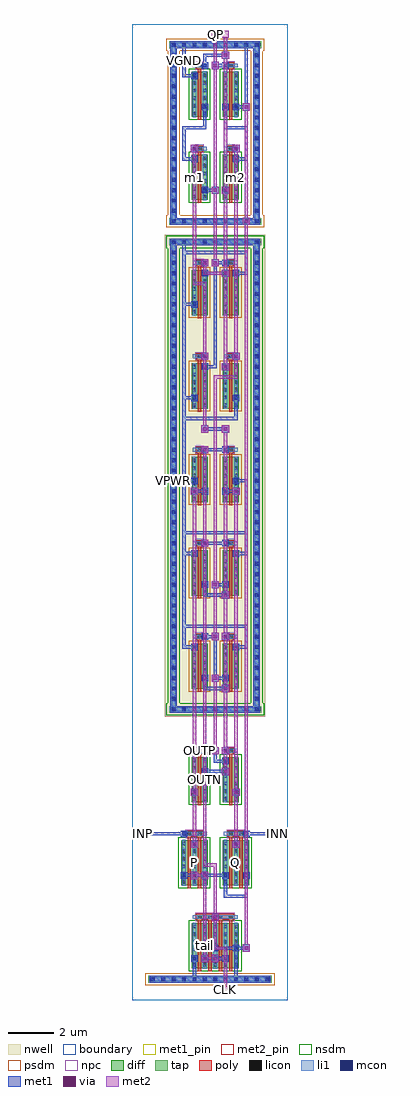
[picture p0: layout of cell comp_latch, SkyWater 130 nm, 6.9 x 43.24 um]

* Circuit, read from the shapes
.subckt comp_latch CLK INN INP OUTN OUTP P Q QN QP VGND VPWR m1 m2 tail
XM1 P INP tail VGND sky130_fd_pr__nfet_01v8 w=2 l=0.15 m=2
XM2 tail CLK VGND VGND sky130_fd_pr__nfet_01v8 w=2 l=0.15 m=4
XM3 OUTN OUTP P VGND sky130_fd_pr__nfet_01v8 w=2 l=0.15
XM4 QP OUTN m1 VGND sky130_fd_pr__nfet_01v8 w=2 l=0.15
XM5 m1 QN VGND VGND sky130_fd_pr__nfet_01v8 w=2 l=0.15
XM6 Q INN tail VGND sky130_fd_pr__nfet_01v8 w=2 l=0.15 m=2
XM7 Q OUTN OUTP VGND sky130_fd_pr__nfet_01v8 w=2 l=0.15
XM8 m2 OUTP QN VGND sky130_fd_pr__nfet_01v8 w=2 l=0.15
XM9 VGND QP m2 VGND sky130_fd_pr__nfet_01v8 w=2 l=0.15
XM10 OUTN OUTP VPWR VPWR sky130_fd_pr__pfet_01v8 w=2 l=0.15
XM11 OUTN CLK VPWR VPWR sky130_fd_pr__pfet_01v8 w=2 l=0.15
XM12 P CLK VPWR VPWR sky130_fd_pr__pfet_01v8 w=2 l=0.15
XM13 QP OUTN VPWR VPWR sky130_fd_pr__pfet_01v8 w=2 l=0.15
XM14 QP QN VPWR VPWR sky130_fd_pr__pfet_01v8 w=2 l=0.15
XM15 VPWR OUTN OUTP VPWR sky130_fd_pr__pfet_01v8 w=2 l=0.15
XM16 VPWR CLK OUTP VPWR sky130_fd_pr__pfet_01v8 w=2 l=0.15
XM17 VPWR CLK Q VPWR sky130_fd_pr__pfet_01v8 w=2 l=0.15
XM18 VPWR OUTP QN VPWR sky130_fd_pr__pfet_01v8 w=2 l=0.15
XM19 VPWR QP QN VPWR sky130_fd_pr__pfet_01v8 w=2 l=0.15
.ends

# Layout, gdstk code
import gdstk
lib = gdstk.Library(unit=1e-6, precision=1e-09)
def R(c, l, rs):  # rectangles x0, y0, x1, y1
    for r in rs: c.add(gdstk.rectangle(r[:2], r[2:], *l))
def A(c, l, x, y, w, h, nx, ny, dx, dy):  # array of equal rectangles
    R(c, l, [(x+i*dx, y+j*dy, x+i*dx+w, y+j*dy+h) for i in range(nx) for j in range(ny)])
nwell = (64, 20)
diff = (65, 20)
tap = (65, 44)
poly = (66, 20)
licon = (66, 44)
li1 = (67, 20)
mcon = (67, 44)
met1_pin = (68, 16)
met1 = (68, 20)
via = (68, 44)
met2_pin = (69, 16)
met2 = (69, 20)
nsdm = (93, 44)
psdm = (94, 20)
npc = (95, 20)
boundary = (235, 4)

comp_latch = lib.new_cell('comp_latch')
R(comp_latch, nwell, [(1.455,12.555,5.905,33.905)])
A(comp_latch, diff, 2.635, 13.78, 0.71, 2, 1, 5, 0, 4.14)
A(comp_latch, diff, 4.015, 13.78, 0.71, 2, 1, 5, 0, 4.14)
R(comp_latch, diff, [(2.635,1.405,4.725,3.405), (2.175,5.085,3.345,7.085), (4.015,5.085,5.185,7.085), (2.635,8.765,3.345,10.765), (4.015,8.765,4.725,10.765), (2.635,35.445,3.345,37.445), (4.015,35.445,4.725,37.445), (2.635,39.125,3.345,41.125), (4.015,39.125,4.725,41.125)])
R(comp_latch, tap, [(0.715,0.775,6.185,1.065), (1.635,12.735,5.725,13.025), (1.695,12.735,1.985,33.725), (5.375,12.735,5.665,33.725), (1.635,33.435,5.725,33.725), (1.635,34.355,5.725,34.645), (1.695,34.355,1.985,42.465), (5.375,34.355,5.665,42.465), (1.635,42.175,5.725,42.465)])
A(comp_latch, poly, 2.915, 1.275, 0.15, 2.405, 4, 1, 0.46, 0)
A(comp_latch, poly, 2.915, 13.65, 0.15, 2.45, 1, 5, 0, 4.14)
A(comp_latch, poly, 4.295, 13.65, 0.15, 2.45, 1, 5, 0, 4.14)
A(comp_latch, poly, 2.825, 15.965, 0.33, 0.27, 1, 5, 0, 4.14)
A(comp_latch, poly, 4.205, 15.965, 0.33, 0.27, 1, 5, 0, 4.14)
R(comp_latch, poly, [(2.825,3.545,4.535,3.815), (2.455,4.955,2.605,7.36), (2.915,4.955,3.065,7.36), (4.295,4.955,4.445,7.36), (4.755,4.955,4.905,7.36), (2.365,7.225,3.155,7.495), (4.205,7.225,4.995,7.495), (2.915,8.635,3.065,11.04), (4.295,8.635,4.445,11.04), (2.825,10.905,3.155,11.175), (4.205,10.905,4.535,11.175), (2.915,35.315,3.065,37.72), (4.295,35.315,4.445,37.72), (2.825,37.585,3.155,37.855), (4.205,37.585,4.535,37.855), (2.915,38.995,3.065,41.4), (4.295,38.995,4.445,41.4), (2.825,41.265,3.155,41.535), (4.205,41.265,4.535,41.535)])
A(comp_latch, licon, 0.835, 0.835, 0.17, 0.17, 12, 1, 0.46, 0)
A(comp_latch, licon, 2.675, 1.47, 0.17, 0.17, 5, 6, 0.46, 0.34)
A(comp_latch, licon, 2.905, 3.595, 0.17, 0.17, 4, 1, 0.46, 0)
A(comp_latch, licon, 2.215, 5.15, 0.17, 0.17, 3, 6, 0.46, 0.34)
A(comp_latch, licon, 4.055, 5.15, 0.17, 0.17, 3, 6, 0.46, 0.34)
A(comp_latch, licon, 2.675, 8.83, 0.17, 0.17, 1, 6, 0, 0.34)
A(comp_latch, licon, 3.135, 8.83, 0.17, 0.17, 1, 6, 0, 0.34)
A(comp_latch, licon, 4.055, 8.83, 0.17, 0.17, 1, 6, 0, 0.34)
A(comp_latch, licon, 4.515, 8.83, 0.17, 0.17, 1, 6, 0, 0.34)
A(comp_latch, licon, 1.755, 12.795, 0.17, 0.17, 9, 2, 0.46, 20.7)
A(comp_latch, licon, 1.755, 13.255, 0.17, 0.17, 1, 44, 0, 0.46)
A(comp_latch, licon, 5.435, 13.255, 0.17, 0.17, 1, 44, 0, 0.46)
A(comp_latch, licon, 2.675, 13.845, 0.17, 0.17, 1, 6, 0, 0.34)
A(comp_latch, licon, 3.135, 13.845, 0.17, 0.17, 1, 6, 0, 0.34)
A(comp_latch, licon, 4.055, 13.845, 0.17, 0.17, 1, 6, 0, 0.34)
A(comp_latch, licon, 4.515, 13.845, 0.17, 0.17, 1, 6, 0, 0.34)
A(comp_latch, licon, 2.905, 16.015, 0.17, 0.17, 1, 5, 0, 4.14)
A(comp_latch, licon, 4.285, 16.015, 0.17, 0.17, 1, 5, 0, 4.14)
A(comp_latch, licon, 2.675, 17.985, 0.17, 0.17, 1, 6, 0, 0.34)
A(comp_latch, licon, 3.135, 17.985, 0.17, 0.17, 1, 6, 0, 0.34)
A(comp_latch, licon, 4.055, 17.985, 0.17, 0.17, 1, 6, 0, 0.34)
A(comp_latch, licon, 4.515, 17.985, 0.17, 0.17, 1, 6, 0, 0.34)
A(comp_latch, licon, 2.675, 22.125, 0.17, 0.17, 1, 6, 0, 0.34)
A(comp_latch, licon, 3.135, 22.125, 0.17, 0.17, 1, 6, 0, 0.34)
A(comp_latch, licon, 4.055, 22.125, 0.17, 0.17, 1, 6, 0, 0.34)
A(comp_latch, licon, 4.515, 22.125, 0.17, 0.17, 1, 6, 0, 0.34)
A(comp_latch, licon, 2.675, 26.265, 0.17, 0.17, 1, 6, 0, 0.34)
A(comp_latch, licon, 3.135, 26.265, 0.17, 0.17, 1, 6, 0, 0.34)
A(comp_latch, licon, 4.055, 26.265, 0.17, 0.17, 1, 6, 0, 0.34)
A(comp_latch, licon, 4.515, 26.265, 0.17, 0.17, 1, 6, 0, 0.34)
A(comp_latch, licon, 2.675, 30.405, 0.17, 0.17, 1, 6, 0, 0.34)
A(comp_latch, licon, 3.135, 30.405, 0.17, 0.17, 1, 6, 0, 0.34)
A(comp_latch, licon, 4.055, 30.405, 0.17, 0.17, 1, 6, 0, 0.34)
A(comp_latch, licon, 4.515, 30.405, 0.17, 0.17, 1, 6, 0, 0.34)
A(comp_latch, licon, 1.755, 34.415, 0.17, 0.17, 9, 2, 0.46, 7.82)
A(comp_latch, licon, 1.755, 34.875, 0.17, 0.17, 1, 16, 0, 0.46)
A(comp_latch, licon, 5.435, 34.875, 0.17, 0.17, 1, 16, 0, 0.46)
A(comp_latch, licon, 2.675, 35.51, 0.17, 0.17, 1, 6, 0, 0.34)
A(comp_latch, licon, 3.135, 35.51, 0.17, 0.17, 1, 6, 0, 0.34)
A(comp_latch, licon, 4.055, 35.51, 0.17, 0.17, 1, 6, 0, 0.34)
A(comp_latch, licon, 4.515, 35.51, 0.17, 0.17, 1, 6, 0, 0.34)
A(comp_latch, licon, 2.675, 39.19, 0.17, 0.17, 1, 6, 0, 0.34)
A(comp_latch, licon, 3.135, 39.19, 0.17, 0.17, 1, 6, 0, 0.34)
A(comp_latch, licon, 4.055, 39.19, 0.17, 0.17, 1, 6, 0, 0.34)
A(comp_latch, licon, 4.515, 39.19, 0.17, 0.17, 1, 6, 0, 0.34)
R(comp_latch, licon, [(2.445,7.275,2.615,7.445), (2.905,7.275,3.075,7.445), (4.285,7.275,4.455,7.445), (4.745,7.275,4.915,7.445), (2.905,10.955,3.075,11.125), (4.285,10.955,4.455,11.125), (2.905,37.635,3.075,37.805), (4.285,37.635,4.455,37.805), (2.905,41.315,3.075,41.485), (4.285,41.315,4.455,41.485)])
A(comp_latch, li1, 2.675, 1.39, 0.17, 2.03, 5, 1, 0.46, 0)
A(comp_latch, li1, 2.215, 5.07, 0.17, 2.03, 3, 1, 0.46, 0)
A(comp_latch, li1, 4.055, 5.07, 0.17, 2.03, 3, 1, 0.46, 0)
A(comp_latch, li1, 2.675, 13.765, 0.17, 2.03, 1, 5, 0, 4.14)
A(comp_latch, li1, 3.135, 13.765, 0.17, 2.03, 1, 5, 0, 4.14)
A(comp_latch, li1, 4.055, 13.765, 0.17, 2.03, 1, 5, 0, 4.14)
A(comp_latch, li1, 4.515, 13.765, 0.17, 2.03, 1, 5, 0, 4.14)
A(comp_latch, li1, 2.675, 16.015, 0.63, 0.17, 1, 5, 0, 4.14)
A(comp_latch, li1, 4.055, 16.015, 0.63, 0.17, 1, 5, 0, 4.14)
R(comp_latch, li1, [(0.755,0.835,6.145,1.005), (2.675,3.595,4.685,3.765), (2.215,7.275,3.305,7.445), (4.055,7.275,5.145,7.445), (2.675,8.75,2.845,10.78), (3.135,8.75,3.305,10.78), (4.055,8.75,4.225,10.78), (4.515,8.75,4.685,10.78), (2.675,10.955,3.305,11.125), (4.055,10.955,4.685,11.125), (1.675,12.795,5.685,12.965), (1.755,12.795,1.925,33.665), (5.435,12.795,5.605,33.665), (1.675,33.495,5.685,33.665), (1.675,34.415,5.685,34.585), (1.755,34.415,1.925,42.405), (5.435,34.415,5.605,42.405), (2.675,35.43,2.845,37.46), (3.135,35.43,3.305,37.46), (4.055,35.43,4.225,37.46), (4.515,35.43,4.685,37.46), (2.675,37.635,3.305,37.805), (4.055,37.635,4.685,37.805), (2.675,39.11,2.845,41.14), (3.135,39.11,3.305,41.14), (4.055,39.11,4.225,41.14), (4.515,39.11,4.685,41.14), (2.675,41.315,3.305,41.485), (4.055,41.315,4.685,41.485), (1.675,42.235,5.685,42.405)])
A(comp_latch, mcon, 0.835, 0.835, 0.17, 0.17, 12, 1, 0.46, 0)
A(comp_latch, mcon, 2.215, 5.435, 0.17, 0.17, 4, 1, 0.92, 0)
A(comp_latch, mcon, 1.755, 12.795, 0.17, 0.17, 9, 2, 0.46, 20.7)
A(comp_latch, mcon, 1.755, 13.255, 0.17, 0.17, 1, 33, 0, 0.46)
A(comp_latch, mcon, 5.435, 13.255, 0.17, 0.17, 1, 44, 0, 0.46)
A(comp_latch, mcon, 1.755, 28.435, 0.17, 0.17, 3, 1, 1.38, 0)
A(comp_latch, mcon, 1.755, 28.895, 0.17, 0.17, 1, 10, 0, 0.46)
A(comp_latch, mcon, 1.755, 34.415, 0.17, 0.17, 9, 2, 0.46, 7.82)
A(comp_latch, mcon, 1.755, 34.875, 0.17, 0.17, 1, 16, 0, 0.46)
A(comp_latch, mcon, 5.435, 34.875, 0.17, 0.17, 1, 16, 0, 0.46)
R(comp_latch, mcon, [(2.675,1.755,2.845,1.925), (3.135,1.755,3.305,1.925), (4.055,1.755,4.225,1.925), (3.595,2.215,3.765,2.385), (4.515,2.215,4.685,2.385), (3.595,3.595,3.765,3.765), (2.675,6.815,2.845,6.985), (4.515,6.815,4.685,6.985), (2.215,7.275,2.385,7.445), (4.975,7.275,5.145,7.445), (2.675,9.115,2.845,9.285), (4.515,9.115,4.685,9.285), (3.135,10.035,3.305,10.205), (4.055,10.495,4.225,10.665), (3.135,10.955,3.305,11.125), (4.055,10.955,4.225,11.125), (3.135,14.175,3.305,14.345), (4.055,14.175,4.225,14.345), (2.675,15.555,2.845,15.725), (4.515,15.555,4.685,15.725), (3.135,16.015,3.305,16.185), (4.055,16.015,4.225,16.185), (3.135,18.315,3.305,18.485), (4.055,18.315,4.225,18.485), (2.675,19.695,2.845,19.865), (4.515,19.695,4.685,19.865), (3.135,20.155,3.305,20.325), (4.055,20.155,4.225,20.325), (3.135,22.455,3.305,22.625), (4.055,22.455,4.225,22.625), (2.675,22.915,2.845,23.085), (4.515,22.915,4.685,23.085), (3.135,24.295,3.305,24.465), (4.055,24.295,4.225,24.465), (2.675,26.595,2.845,26.765), (4.515,26.595,4.685,26.765), (3.135,27.975,3.305,28.145), (4.055,27.975,4.225,28.145), (2.675,30.735,2.845,30.905), (3.135,32.115,3.305,32.285), (4.055,32.115,4.225,32.285), (4.515,32.115,4.685,32.285), (3.135,32.575,3.305,32.745), (4.055,32.575,4.225,32.745), (3.135,35.795,3.305,35.965), (4.055,35.795,4.225,35.965), (2.675,37.175,2.845,37.345), (4.515,37.175,4.685,37.345), (2.675,37.635,2.845,37.805), (4.515,37.635,4.685,37.805), (3.135,39.475,3.305,39.645), (4.055,39.475,4.225,39.645), (4.515,39.475,4.685,39.645), (2.675,40.855,2.845,41.025), (3.135,41.315,3.305,41.485), (4.055,41.315,4.225,41.485)])
R(comp_latch, met1_pin, [(1.77,22.93,1.91,23.07), (2.23,40.87,2.37,42.39)])
A(comp_latch, met1, 2.155, 5.375, 0.29, 0.29, 4, 1, 0.92, 0)
R(comp_latch, met1, [(0.775,0.775,6.125,1.065), (2.69,0.85,2.83,1.91), (2.69,0.85,4.67,0.99), (4.53,0.85,4.67,2.37), (4.53,0.85,4.67,0.99), (3.06,1.68,3.38,2), (3.52,1.68,3.84,2), (2.615,1.695,2.905,1.985), (3.075,1.695,3.365,1.985), (3.995,1.695,4.285,1.985), (3.61,1.77,4.21,1.91), (4.9,2.14,5.22,2.46), (3.535,2.155,3.825,2.445), (4.455,2.155,4.745,2.445), (3.61,2.23,4.67,2.37), (4.53,2.23,5.13,2.37), (3.52,3.52,3.84,3.84), (3.535,3.535,3.825,3.825), (4.07,4.53,5.13,4.67), (4.07,4.53,4.21,5.59), (4.99,4.53,5.13,5.59), (2.6,5.36,2.92,5.68), (3.06,5.36,3.38,5.68), (2.23,5.45,2.83,5.59), (3.15,5.45,4.21,5.59), (2.6,6.74,2.92,7.06), (4.44,6.74,4.76,7.06), (2.615,6.755,2.905,7.045), (4.455,6.755,4.745,7.045), (0.3,7.2,0.62,7.52), (6.28,7.2,6.6,7.52), (2.155,7.215,2.445,7.505), (4.915,7.215,5.205,7.505), (0.39,7.29,2.37,7.43), (4.99,7.29,6.51,7.43), (2.6,9.04,2.92,9.36), (4.44,9.04,4.76,9.36), (2.615,9.055,2.905,9.345), (4.455,9.055,4.745,9.345), (3.98,9.96,4.3,10.28), (3.075,9.975,3.365,10.265), (3.15,10.05,4.21,10.19), (3.995,10.435,4.285,10.725), (3.61,10.51,4.21,10.65), (3.61,10.51,3.75,11.11), (3.52,10.88,3.84,11.2), (3.98,10.88,4.3,11.2), (3.075,10.895,3.365,11.185), (3.995,10.895,4.285,11.185), (3.15,10.97,3.75,11.11), (1.695,12.735,1.985,33.725), (1.695,12.735,5.665,13.025), (5.375,12.735,5.665,33.725), (3.98,13.64,4.3,13.96), (3.15,13.73,4.21,13.87), (3.15,13.73,3.29,14.33), (3.52,14.1,3.84,14.42), (3.075,14.115,3.365,14.405), (3.995,14.115,4.285,14.405), (3.61,14.19,4.21,14.33), (3.61,14.19,3.75,16.17), (2.615,15.495,2.905,15.785), (4.455,15.495,4.745,15.785), (2.23,15.57,2.83,15.71), (2.23,15.57,2.37,19.85), (4.53,15.57,5.13,15.71), (4.99,15.57,5.13,16.63), (3.52,15.94,3.84,16.26), (3.98,15.94,4.3,16.26), (3.075,15.955,3.365,16.245), (3.995,15.955,4.285,16.245), (3.15,16.03,3.75,16.17), (2.23,16.49,5.13,16.63), (3.98,17.78,4.3,18.1), (3.15,17.87,4.21,18.01), (3.15,17.87,3.29,18.47), (3.52,18.24,3.84,18.56), (3.075,18.255,3.365,18.545), (3.995,18.255,4.285,18.545), (3.61,18.33,4.21,18.47), (2.615,19.635,2.905,19.925), (4.455,19.635,4.745,19.925), (2.23,19.71,2.37,23.07), (2.23,19.71,2.83,19.85), (4.53,19.71,5.13,19.85), (4.99,19.71,5.13,20.77), (3.06,20.08,3.38,20.4), (3.075,20.095,3.365,20.385), (3.995,20.095,4.285,20.385), (3.15,20.17,4.21,20.31), (2.23,20.63,5.13,20.77), (4.99,20.63,5.13,23.07), (2.6,22.38,2.92,22.7), (4.44,22.38,4.76,22.7), (3.075,22.395,3.365,22.685), (3.995,22.395,4.285,22.685), (2.69,22.47,3.29,22.61), (4.07,22.47,4.67,22.61), (2.615,22.855,2.905,23.145), (4.455,22.855,4.745,23.145), (1.77,22.93,2.83,23.07), (1.77,22.93,1.91,23.07), (2.23,22.93,2.37,26.75), (4.53,22.93,5.13,23.07), (3.06,24.22,3.38,24.54), (3.075,24.235,3.365,24.525), (3.995,24.235,4.285,24.525), (3.15,24.31,4.21,24.45), (3.06,25.14,3.38,25.46), (3.98,25.14,4.3,25.46), (3.15,25.23,4.21,25.37), (2.23,25.69,4.67,25.83), (4.53,25.69,4.67,26.75), (2.615,26.535,2.905,26.825), (4.455,26.535,4.745,26.825), (2.23,26.61,2.83,26.75), (2.23,26.61,2.37,30.89), (3.98,27.9,4.3,28.22), (3.075,27.915,3.365,28.205), (3.995,27.915,4.285,28.205), (3.15,27.99,3.75,28.13), (3.61,27.99,3.75,32.27), (3.06,28.36,3.38,28.68), (4.44,28.36,4.76,28.68), (3.075,28.375,3.365,28.665), (4.455,28.375,4.745,28.665), (2.615,30.675,2.905,30.965), (2.23,30.75,2.83,30.89), (2.23,30.75,2.37,33.65), (3.98,32.04,4.3,32.36), (3.075,32.055,3.365,32.345), (3.995,32.055,4.285,32.345), (4.455,32.055,4.745,32.345), (3.15,32.13,3.75,32.27), (3.61,32.13,3.75,32.73), (4.53,32.13,5.13,32.27), (4.99,32.13,5.13,33.19), (3.06,32.5,3.38,32.82), (3.52,32.5,3.84,32.82), (3.075,32.515,3.365,32.805), (3.995,32.515,4.285,32.805), (3.61,32.59,4.21,32.73), (2.23,33.05,5.13,33.19), (1.695,33.435,5.665,33.725), (2.23,33.51,2.37,33.65), (4.9,34.34,5.22,34.66), (1.695,34.355,5.665,34.645), (1.695,34.355,1.985,42.465), (5.375,34.355,5.665,42.465), (4.99,34.43,5.13,34.57), (3.52,35.72,3.84,36.04), (3.98,35.72,4.3,36.04), (3.075,35.735,3.365,36.025), (3.995,35.735,4.285,36.025), (3.15,35.81,3.75,35.95), (2.615,37.115,2.905,37.405), (4.455,37.115,4.745,37.405), (2.23,37.19,2.83,37.33), (2.23,37.19,2.37,38.71), (4.53,37.19,5.13,37.33), (4.99,37.19,5.13,38.71), (2.6,37.56,2.92,37.88), (4.44,37.56,4.76,37.88), (2.615,37.575,2.905,37.865), (4.455,37.575,4.745,37.865), (2.23,38.57,3.29,38.71), (3.15,38.57,3.29,39.63), (4.07,38.57,5.13,38.71), (4.07,38.57,4.21,39.63), (4.9,39.4,5.22,39.72), (3.075,39.415,3.365,39.705), (3.995,39.415,4.285,39.705), (4.455,39.415,4.745,39.705), (4.53,39.49,5.13,39.63), (4.99,39.49,5.13,42.39), (2.615,40.795,2.905,41.085), (2.23,40.87,2.83,41.01), (2.23,40.87,2.37,42.39), (3.52,41.24,3.84,41.56), (3.075,41.255,3.365,41.545), (3.995,41.255,4.285,41.545), (3.15,41.33,3.29,41.93), (3.61,41.33,4.21,41.47), (3.98,41.7,4.3,42.02), (3.15,41.79,4.21,41.93), (1.695,42.175,5.665,42.465), (2.23,42.25,5.13,42.39), (4.99,42.25,5.13,42.39)])
R(comp_latch, via, [(3.145,1.765,3.295,1.915), (3.605,1.765,3.755,1.915), (4.985,2.225,5.135,2.375), (3.605,3.605,3.755,3.755), (2.685,5.445,2.835,5.595), (3.145,5.445,3.295,5.595), (2.685,6.825,2.835,6.975), (4.525,6.825,4.675,6.975), (0.385,7.285,0.535,7.435), (6.365,7.285,6.515,7.435), (2.685,9.125,2.835,9.275), (4.525,9.125,4.675,9.275), (4.065,10.045,4.215,10.195), (3.605,10.965,3.755,11.115), (4.065,10.965,4.215,11.115), (4.065,13.725,4.215,13.875), (3.605,14.185,3.755,14.335), (3.605,16.025,3.755,16.175), (4.065,16.025,4.215,16.175), (4.065,17.865,4.215,18.015), (3.605,18.325,3.755,18.475), (3.145,20.165,3.295,20.315), (2.685,22.465,2.835,22.615), (4.525,22.465,4.675,22.615), (3.145,24.305,3.295,24.455), (3.145,25.225,3.295,25.375), (4.065,25.225,4.215,25.375), (4.065,27.985,4.215,28.135), (3.145,28.445,3.295,28.595), (4.525,28.445,4.675,28.595), (4.065,32.125,4.215,32.275), (3.145,32.585,3.295,32.735), (3.605,32.585,3.755,32.735), (4.985,34.425,5.135,34.575), (3.605,35.805,3.755,35.955), (4.065,35.805,4.215,35.955), (2.685,37.645,2.835,37.795), (4.525,37.645,4.675,37.795), (4.985,39.485,5.135,39.635), (3.605,41.325,3.755,41.475), (4.065,41.785,4.215,41.935)])
R(comp_latch, met2_pin, [(3.99,0.31,4.29,0.61), (0.31,7.21,0.61,7.51), (6.29,7.21,6.59,7.51), (3.53,42.63,3.83,42.93), (3.99,42.63,4.29,42.93)])
R(comp_latch, met2, [(3.99,0.31,4.29,0.61), (4.07,0.39,4.21,0.53), (4.07,0.39,4.21,2.37), (3.06,1.68,3.38,2), (3.52,1.68,3.84,2), (3.15,1.77,3.75,1.91), (3.15,1.77,3.29,5.59), (4.9,2.14,5.22,2.46), (3.61,2.23,4.21,2.37), (3.61,2.23,3.75,3.75), (4.99,2.23,5.13,34.57), (3.52,3.52,3.84,3.84), (3.61,3.61,3.75,6.05), (2.6,5.36,2.92,5.68), (3.06,5.36,3.38,5.68), (2.69,5.45,3.29,5.59), (3.15,5.91,3.75,6.05), (3.15,5.91,3.29,20.31), (2.6,6.74,2.92,7.06), (4.44,6.74,4.76,7.06), (2.69,6.83,2.83,9.27), (4.53,6.83,4.67,9.27), (0.3,7.2,0.62,7.52), (6.28,7.2,6.6,7.52), (0.31,7.21,0.61,7.51), (6.29,7.21,6.59,7.51), (0.39,7.29,0.53,7.43), (6.37,7.29,6.51,7.43), (2.6,9.04,2.92,9.36), (4.44,9.04,4.76,9.36), (2.69,9.13,2.83,22.61), (4.53,9.13,4.67,22.61), (3.98,9.96,4.3,10.28), (4.07,10.05,4.21,11.11), (3.52,10.88,3.84,11.2), (3.98,10.88,4.3,11.2), (3.61,10.97,3.75,14.33), (4.07,10.97,4.21,13.87), (3.98,13.64,4.3,13.96), (4.07,13.73,4.21,16.17), (3.52,14.1,3.84,14.42), (3.52,15.94,3.84,16.26), (3.98,15.94,4.3,16.26), (3.61,16.03,3.75,18.47), (4.07,16.03,4.21,18.01), (3.98,17.78,4.3,18.1), (4.07,17.87,4.21,25.37), (3.52,18.24,3.84,18.56), (3.61,18.33,3.75,27.67), (3.06,20.08,3.38,20.4), (3.15,20.17,3.29,24.45), (2.6,22.38,2.92,22.7), (4.44,22.38,4.76,22.7), (3.06,24.22,3.38,24.54), (3.06,25.14,3.38,25.46), (3.98,25.14,4.3,25.46), (3.15,25.23,3.29,28.59), (3.61,27.53,4.67,27.67), (4.53,27.53,4.67,28.59), (3.98,27.9,4.3,28.22), (4.07,27.99,4.21,32.27), (3.06,28.36,3.38,28.68), (4.44,28.36,4.76,28.68), (3.15,28.45,3.29,31.81), (4.53,28.45,4.67,37.79), (2.69,31.67,3.29,31.81), (2.69,31.67,2.83,37.79), (3.98,32.04,4.3,32.36), (3.15,32.13,3.29,32.73), (3.15,32.13,4.21,32.27), (4.07,32.13,4.21,35.95), (3.06,32.5,3.38,32.82), (3.52,32.5,3.84,32.82), (3.61,32.59,3.75,35.95), (4.9,34.34,5.22,34.66), (4.99,34.43,5.13,39.63), (3.52,35.72,3.84,36.04), (3.98,35.72,4.3,36.04), (3.61,35.81,3.75,42.85), (4.07,35.81,4.21,42.85), (2.6,37.56,2.92,37.88), (4.44,37.56,4.76,37.88), (4.9,39.4,5.22,39.72), (3.52,41.24,3.84,41.56), (3.98,41.7,4.3,42.02), (3.53,42.63,3.83,42.93), (3.99,42.63,4.29,42.93), (3.61,42.71,3.75,42.85), (4.07,42.71,4.21,42.85)])
R(comp_latch, nsdm, [(2.51,1.28,4.85,3.53), (2.05,4.96,3.47,7.21), (3.89,4.96,5.31,7.21), (2.51,8.64,3.47,10.89), (3.89,8.64,4.85,10.89), (1.51,12.61,5.85,13.15), (1.57,13.15,2.11,33.31), (5.25,13.15,5.79,33.31), (1.51,33.31,5.85,33.85), (2.51,35.32,3.47,37.57), (3.89,35.32,4.85,37.57), (2.51,39,3.47,41.25), (3.89,39,4.85,41.25)])
A(comp_latch, psdm, 2.51, 13.655, 0.96, 2.25, 1, 5, 0, 4.14)
A(comp_latch, psdm, 3.89, 13.655, 0.96, 2.25, 1, 5, 0, 4.14)
R(comp_latch, psdm, [(0.59,0.65,6.31,1.19), (1.51,34.23,5.85,34.77), (1.57,34.77,2.11,42.05), (5.25,34.77,5.79,42.05), (1.51,42.05,5.85,42.59)])
A(comp_latch, npc, 2.805, 15.915, 0.37, 0.37, 1, 5, 0, 4.14)
A(comp_latch, npc, 4.185, 15.915, 0.37, 0.37, 1, 5, 0, 4.14)
R(comp_latch, npc, [(2.805,3.495,4.555,3.865), (2.345,7.175,3.175,7.545), (4.185,7.175,5.015,7.545), (2.805,10.855,3.175,11.225), (4.185,10.855,4.555,11.225), (2.805,37.535,3.175,37.905), (4.185,37.535,4.555,37.905), (2.805,41.215,3.175,41.585), (4.185,41.215,4.555,41.585)])
R(comp_latch, boundary, [(0,0,6.9,43.24)])
comp_latch.add(gdstk.Label('tail', (3.22,2.405), layer=67, texttype=5))
comp_latch.add(gdstk.Label('P', (2.76,6.085), layer=67, texttype=5))
comp_latch.add(gdstk.Label('Q', (4.6,6.085), layer=67, texttype=5))
comp_latch.add(gdstk.Label('OUTP', (2.99,11.04), layer=67, texttype=5))
comp_latch.add(gdstk.Label('OUTN', (3.22,9.765), layer=67, texttype=5))
comp_latch.add(gdstk.Label('m1', (2.76,36.445), layer=67, texttype=5))
comp_latch.add(gdstk.Label('m2', (4.6,36.445), layer=67, texttype=5))
comp_latch.add(gdstk.Label('VPWR', (1.84,23), layer=68, texttype=5))
comp_latch.add(gdstk.Label('VGND', (2.3,41.63), layer=68, texttype=5))
comp_latch.add(gdstk.Label('CLK', (4.14,0.46), layer=69, texttype=5))
comp_latch.add(gdstk.Label('INP', (0.46,7.36), layer=69, texttype=5))
comp_latch.add(gdstk.Label('INN', (6.44,7.36), layer=69, texttype=5))
comp_latch.add(gdstk.Label('QP', (3.68,42.78), layer=69, texttype=5))
comp_latch.add(gdstk.Label('QN', (4.14,42.78), layer=69, texttype=5))
comp_latch.add(gdstk.Label('VPWR', (1.84,23), layer=68, texttype=16))
comp_latch.add(gdstk.Label('VGND', (2.3,41.63), layer=68, texttype=16))
comp_latch.add(gdstk.Label('CLK', (4.14,0.46), layer=69, texttype=16))
comp_latch.add(gdstk.Label('INP', (0.46,7.36), layer=69, texttype=16))
comp_latch.add(gdstk.Label('INN', (6.44,7.36), layer=69, texttype=16))
comp_latch.add(gdstk.Label('QP', (3.68,42.78), layer=69, texttype=16))
comp_latch.add(gdstk.Label('QN', (4.14,42.78), layer=69, texttype=16))

lib.write_gds('comp_latch.gds')
